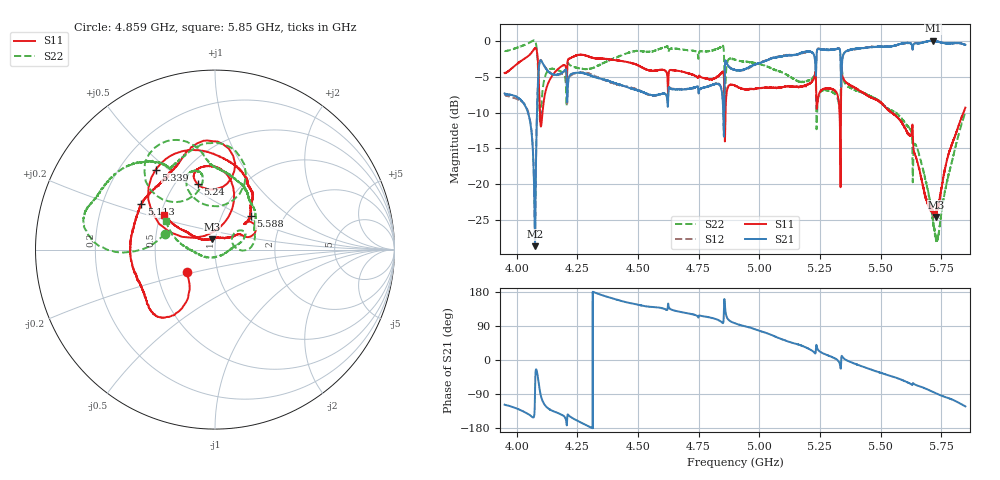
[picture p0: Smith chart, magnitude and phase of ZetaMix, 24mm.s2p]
# GHZ S RI R 50.000000000000
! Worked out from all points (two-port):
!   4501 points, 3.95 GHz to 5.85 GHz, reference 50 ohm
!   highest |S21| = 0.05 dB at 5.717 GHz (marker M1); lowest = -28.6 dB at 4.075 GHz (marker M2)
!   |S21| within 3 dB of the highest: 5.012 GHz to 5.231 GHz (218.2 MHz wide, 4.26 % of centre); 5.342 GHz to end of sweep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
!   lowest |S11| = -24.5 dB at 5.728 GHz (marker M3), VSWR 1.13, Z = 48 + j5.48 ohm
!   |S11| at or under -10 dB: 4.095617 GHz to 4.106282 GHz (10.66 MHz wide, 0.26 % of centre); 5.331043 GHz to 5.336856 GHz (5.813 MHz wide, 0.109 % of centre); 5.546 GHz to 5.842 GHz (295.2 MHz wide, 5.18 % of centre)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
!   |S22| runs from -28.2 to 0.1 dB; largest |S21 - S12| = 0.019
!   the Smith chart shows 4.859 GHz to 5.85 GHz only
!   S11 on the Smith chart (normalised r, x): 4.859 GHz: 0.71, -0.19; 5.113 GHz: 0.37, +0.25; 5.24 GHz: 0.64, +0.55; 5.339 GHz: 0.35, +0.45; 5.588 GHz: 1.37, +0.55; 5.85 GHz: 0.53, +0.23
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3.95  0.3668 -0.4718  -0.2017 -0.3809  -0.2113 -0.3688  0.7501 -0.4063
4.042467  0.2496 -0.7308  -0.255 -0.2085  -0.2537 -0.222  0.5612 -0.7712
4.0754  -0.0483 -0.8868  0.00329 -0.0369  0.00444 -0.0372  0.1334 -0.9899
4.087222  -0.3875 -0.6036  0.3455 -0.3565  0.3469 -0.367  -0.2573 -0.6238
4.099044  -0.0537 -0.2485  -0.0355 -0.7296  -0.0442 -0.732  0.1297 -0.2767
4.1362  0.2293 -0.4825  -0.3936 -0.4475  -0.3995 -0.4454  0.288 -0.5663
4.267089  0.1548 -0.7858  -0.58 -0.1467  -0.5826 -0.1546  0.099 -0.6328
4.583756  -0.0948 -0.6189  -0.3168 0.2793  -0.3162 0.2769  -0.5922 -0.641
4.835822  -0.3732 -0.4435  -0.1197 0.4795  -0.1251 0.4834  -0.8761 0.1864
4.858622  -0.1576 -0.127  -0.5399 0.4055  -0.5482 0.4026  -0.278 0.0874
4.867489  -0.2576 -0.3754  -0.2475 0.6421  -0.2547 0.6438  -0.6978 0.0738
4.9  -0.3698 -0.3209  -0.0756 0.6236  -0.071 0.6242  -0.6971 0.2506
5.1128  -0.4106 0.2528  0.5084 0.608  0.5149 0.6094  -0.3185 0.4859
5.217089  -0.2066 0.4742  0.7554 0.3488  0.7558 0.3514  -0.1822 0.5144
5.240311  -0.0955 0.3643  0.7619 0.4295  0.7643 0.4337  -0.1462 0.3261
5.324756  0.0794 0.3999  0.883 -0.0209  0.8856 -0.0301  -0.0691 0.3826
5.339111  -0.3302 0.4461  0.5547 0.0893  0.5541 0.086  -0.2692 0.6044
5.533756  0.2015 0.2586  0.6918 -0.5939  0.6867 -0.6087  0.1945 0.2714
5.5878  0.1982 0.1869  0.5876 -0.7549  0.581 -0.7551  0.2277 0.1767
5.717  0.000714 0.0636  0.0962 -1.001  0.0946 -0.9986  0.0469 -0.0204
5.7284  -0.0169 0.0568  0.0351 -0.9914  0.0298 -0.9972  0.0213 -0.0357
5.85  -0.2815 0.1953  -0.5047 -0.7911  -0.5119 -0.7868  -0.2747 0.1605
